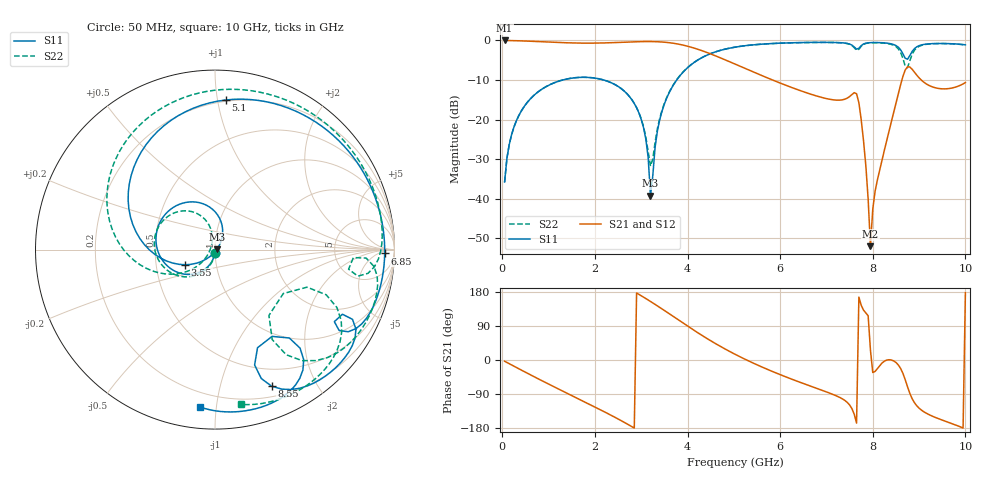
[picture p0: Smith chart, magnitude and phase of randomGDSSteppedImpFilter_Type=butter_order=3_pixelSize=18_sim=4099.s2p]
! freq	dB(S11)	phase(S11)	dB(S12)	phase(S12)
!  dB(S21)	phase(S21)	dB(S22)	phase(S22)
!S-par simulation data
#  GHz  S  DB  R 50
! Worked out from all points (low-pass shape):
!   200 points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, 50 MHz to 10 GHz, reference 50 ohm
!   highest |S21| = -0.01 dB at 50 MHz (marker M1); lowest = -52.0 dB at 7.95 GHz (marker M2)
!   |S21| within 3 dB of the highest: start of sweep to 4.411 GHz
!   lowest |S11| = -39.2 dB at 3.2 GHz (marker M3), VSWR 1.02, Z = 51.1 + j0.121 ohm
!   |S11| at or under -10 dB: start of sweep to 1.302 GHz; 2.191 GHz to 3.766 GHz (1.576 GHz wide, 52.9 % of centre)
!   |S22| runs from -35.8 to -0.5 dB; largest |S21 - S12| = 0
!   S11 on the Smith chart (normalised r, x): 50 MHz: 1.00, -0.03; 3.55 GHz: 0.71, -0.12; 5.1 GHz: 0.19, +1.06; 6.85 GHz: 31, -12; 8.55 GHz: 0.31, -1.45; 10 GHz: 0.12, -0.90
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0.05  -35.78 -93.2  -0.01 -3.3  -0.01 -3.3  -35.77 -92.9
0.2  -23.83 -103.8  -0.04 -13.0  -0.04 -13.0  -23.83 -102.4
0.5  -16.25 -124.5  -0.15 -32.3  -0.15 -32.3  -16.25 -121.0
1.75  -9.31 154.2  -0.68 -108.8  -0.68 -108.8  -9.30 167.2
2.85  -15.93 78.0  -0.35 -179.5  -0.35 -179.5  -15.90 106.0
3.1  -24.95 53.9  -0.28 162.1  -0.28 162.1  -24.43 104.3
3.2  -39.22 6.2  -0.28 154.5  -0.28 154.5  -31.77 149.1
3.4  -20.02 -138.5  -0.36 138.8  -0.36 138.8  -19.65 -136.1
3.55  -14.57 -153.2  -0.50 126.6  -0.50 126.6  -14.43 -141.3
4.3  -4.41 142.5  -2.54 65.8  -2.54 65.8  -4.39 165.7
5.05  -1.65 89.0  -6.10 13.6  -6.10 13.6  -1.65 116.0
5.1  -1.56 85.9  -6.35 10.5  -6.35 10.5  -1.56 113.0
6.7  -0.50 5.0  -13.72 -70.9  -13.72 -70.9  -0.51 31.6
6.85  -0.49 -1.3  -14.25 -77.5  -14.25 -77.5  -0.50 24.8
7.65  -2.20 -31.1  -13.47 -166.6  -13.47 -166.6  -2.47 -8.3
7.85  -0.70 -32.3  -31.59 124.2  -31.59 124.2  -0.76 -9.3
7.95  -0.55 -37.5  -51.98 25.9  -51.98 25.9  -0.60 -15.2
8.05  -0.52 -42.1  -38.13 -30.2  -38.13 -30.2  -0.57 -20.6
8.35  -0.75 -56.0  -22.96 0.7  -22.96 0.7  -0.86 -37.1
8.55  -1.69 -67.5  -13.56 -12.8  -13.56 -12.8  -2.09 -51.9
8.8  -3.83 -49.9  -6.71 -88.0  -6.71 -88.0  -5.13 -22.2
10  -1.11 -95.6  -10.64 177.7  -10.64 177.7  -1.17 -80.6
